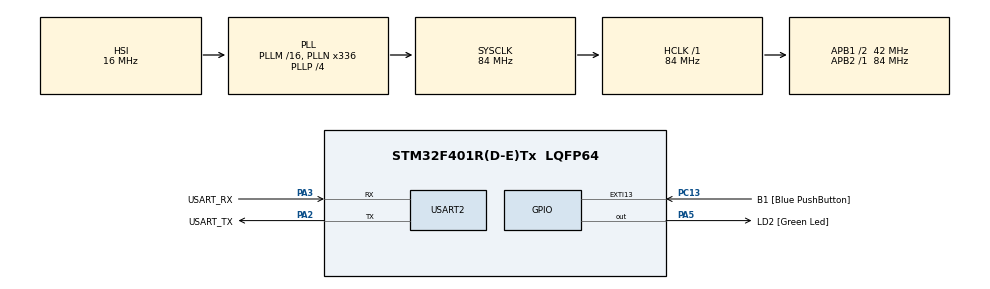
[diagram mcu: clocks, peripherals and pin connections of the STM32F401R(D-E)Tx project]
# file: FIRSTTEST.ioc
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Mcu.Family=STM32F4
Mcu.Name=STM32F401R(D-E)Tx
Mcu.Package=LQFP64
NVIC.PriorityGroup=NVIC_PRIORITYGROUP_4
PA13.GPIO_Label=TMS
PA13.Mode=Trace_Asynchronous_SW
PA13.Signal=SYS_JTMS-SWDIO
PA14.GPIO_Label=TCK
PA14.Mode=Trace_Asynchronous_SW
PA14.Signal=SYS_JTCK-SWCLK
PA2.GPIO_Label=USART_TX
PA2.GPIO_Mode=GPIO_MODE_AF_PP
PA2.GPIO_PuPd=GPIO_NOPULL
PA2.GPIO_Speed=GPIO_SPEED_FREQ_LOW
PA2.Mode=Asynchronous
PA2.Signal=USART2_TX
PA3.GPIO_Label=USART_RX
PA3.GPIO_Mode=GPIO_MODE_AF_PP
PA3.GPIO_PuPd=GPIO_NOPULL
PA3.GPIO_Speed=GPIO_SPEED_FREQ_LOW
PA3.Mode=Asynchronous
PA3.Signal=USART2_RX
PA5.GPIO_Label=LD2 [Green Led]
PA5.GPIO_Mode=GPIO_MODE_OUTPUT_PP
PA5.GPIO_PuPd=GPIO_NOPULL
PA5.GPIO_Speed=GPIO_SPEED_FREQ_LOW
PA5.Signal=GPIO_Output
PB3.GPIO_Label=SWO
PB3.Mode=Trace_Asynchronous_SW
PB3.Signal=SYS_JTDO-SWO
PC13-ANTI_TAMP.GPIO_Label=B1 [Blue PushButton]
PC13-ANTI_TAMP.GPIO_ModeDefaultEXTI=GPIO_MODE_IT_FALLING
PC13-ANTI_TAMP.GPIO_PuPd=GPIO_NOPULL
PC13-ANTI_TAMP.Signal=GPXTI13
PC14-OSC32_IN.Mode=LSE-External-Oscillator
PC14-OSC32_IN.Signal=RCC_OSC32_IN
PC15-OSC32_OUT.Mode=LSE-External-Oscillator
PC15-OSC32_OUT.Signal=RCC_OSC32_OUT
PH0\ -\ OSC_IN.Mode=HSE-External-Clock-Source
PH0\ -\ OSC_IN.Signal=RCC_OSC_IN
PH1\ -\ OSC_OUT.Mode=HSE-External-Clock-Source
PH1\ -\ OSC_OUT.Signal=RCC_OSC_OUT
ProjectManager.HeapSize=0x200
ProjectManager.StackSize=0x400
ProjectManager.TargetToolchain=STM32CubeIDE
RCC.48MHZClocksFreq_Value=48000000
RCC.AHBFreq_Value=84000000
RCC.APB1CLKDivider=RCC_HCLK_DIV2
RCC.APB1Freq_Value=42000000
RCC.APB1TimFreq_Value=84000000
RCC.APB2Freq_Value=84000000
RCC.APB2TimFreq_Value=84000000
RCC.CortexFreq_Value=84000000
RCC.HCLKFreq_Value=84000000
RCC.HSE_VALUE=8000000
RCC.HSI_VALUE=16000000
RCC.PLLN=336
RCC.PLLP=RCC_PLLP_DIV4
RCC.PLLQ=7
RCC.SYSCLKFreq_VALUE=84000000
RCC.SYSCLKSource=RCC_SYSCLKSOURCE_PLLCLK
RCC.VCOOutputFreq_Value=336000000
USART2.VirtualMode=VM_ASYNC
board=NUCLEO-F401RE

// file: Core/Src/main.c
/* USER CODE BEGIN Header */
/**
  ******************************************************************************
  * @file           : main.c
  * @brief          : Main program body
  ******************************************************************************
  * @attention
  *
  * Copyright (c) 2026 STMicroelectronics.
  * All rights reserved.
  *
  * This software is licensed under terms that can be found in the LICENSE file
  * in the root directory of this software component.
  * If no LICENSE file comes with this software, it is provided AS-IS.
  *
  ******************************************************************************
  */
/* USER CODE END Header */
#include "main.h"

#define SEGMENT_A		GPIO_PIN_4
#define SEGMENT_A_PORT	'B'

#define SEGMENT_B		GPIO_PIN_3
#define SEGMENT_B_PORT	'B'

#define SEGMENT_C		GPIO_PIN_8
#define SEGMENT_C_PORT	'A'

#define SEGMENT_D		GPIO_PIN_6
#define SEGMENT_D_PORT	'B'

#define SEGMENT_E		GPIO_PIN_7
#define SEGMENT_E_PORT	'A'

#define SEGMENT_F		GPIO_PIN_5
#define SEGMENT_F_PORT	'B'

#define SEGMENT_G		GPIO_PIN_10
#define SEGMENT_G_PORT	'B'

#define SEGMENT_DP		GPIO_PIN_9
#define SEGMENT_DP_PORT	'A'

UART_HandleTypeDef huart2;

typedef enum {
	BUTTON_RELEASED = 0,
	BUTTON_PRESSED_DEBOUNCE,
	BUTTON_HELD,
	WAITING_FOR_GAP
} ButtonState;

ButtonState btnState = BUTTON_RELEASED;
uint32_t pressStartTime = 0;
uint32_t holdDuration = 0;
uint32_t releaseStartTime = 0;
uint32_t gapDuration = 0;

uint8_t morseCode[4] = {0, 0, 0, 0};
uint8_t morseCodeIndex = 0;

void SystemClock_Config(void);
static void MX_GPIO_Init(void);
static void MX_USART2_UART_Init(void);
void segment_on(uint16_t segment, char port);
void segment_off(uint16_t segment, char port);

void display_off(void);
void display_A(void);
void display_B(void);
void display_C(void);
void display_D(void);
void display_E(void);
void display_F(void);
void display_G(void);
void display_H(void);
void display_I(void);
void display_J(void);
void display_K(void);
void display_L(void);
void display_M(void);
void display_N(void);
void display_O(void);
void display_P(void);
void display_Q(void);
void display_R(void);
void display_S(void);
void display_T(void);
void display_U(void);
void display_Q(void);
void display_V(void);
void display_W(void);
void display_X(void);
void display_Y(void);
void display_Z(void);

void reset_morse(void);
void check_button_hold(void);

void morse_code_transcribe(void);

int main(void)
{

  /* MCU Configuration--------------------------------------------------------*/

  /* Reset of all peripherals, Initializes the Flash interface and the Systick. */
  HAL_Init();

  /* Configure the system clock */
  SystemClock_Config();

  /* Initialize all configured peripherals */
  MX_GPIO_Init();
  MX_USART2_UART_Init();
  /* USER CODE BEGIN 2 */
  HAL_GPIO_WritePin(GPIOA, GPIO_PIN_0, GPIO_PIN_SET);		// PA0 (D1)
  display_off();

  /* USER CODE END 2 */

  /* Infinite loop */
  while (1)
  {

	  check_button_hold();

	  /*
	  // PA0 & PA1
//	  HAL_GPIO_WritePin(GPIOA, GPIO_PIN_1, GPIO_PIN_RESET);		// PA1 (D2)

	  // PA4 & PB0
//	  HAL_GPIO_WritePin(GPIOA, GPIO_PIN_4, GPIO_PIN_RESET);		// PA4 (D3)
//	  HAL_GPIO_WritePin(GPIOB, GPIO_PIN_0, GPIO_PIN_RESET);		// PB0 (D4)

	  // PA7 & PB6
//	  HAL_GPIO_WritePin(GPIOA, GPIO_PIN_7, GPIO_PIN_RESET);		// PA7 (E)
//	  HAL_GPIO_WritePin(GPIOB, GPIO_PIN_6, GPIO_PIN_RESET);		// PB6 (D)

	  // PA9 & PA8
//	  HAL_GPIO_WritePin(GPIOA, GPIO_PIN_9, GPIO_PIN_RESET);		// PA9 (DP)
//	  HAL_GPIO_WritePin(GPIOA, GPIO_PIN_8, GPIO_PIN_RESET);		// PA8 (C)

	  // PB10 & PB4
//	  HAL_GPIO_WritePin(GPIOB, GPIO_PIN_10, GPIO_PIN_RESET);	// PB10 (G)
//	  HAL_GPIO_WritePin(GPIOB, GPIO_PIN_4, GPIO_PIN_RESET);		// PB4 (A)

	  // PB5 && PB3
//	  HAL_GPIO_WritePin(GPIOB, GPIO_PIN_5, GPIO_PIN_RESET);		// PB5 (F)
//	  HAL_GPIO_WritePin(GPIOB, GPIO_PIN_3, GPIO_PIN_RESET);		// PB3 (B)
		*/

  }
  /* USER CODE END 3 */
}

void segment_on(uint16_t segment, char port) {
	if (port == 'B') {
		HAL_GPIO_WritePin(GPIOB, segment, GPIO_PIN_RESET);
	}
	else {
		HAL_GPIO_WritePin(GPIOA, segment, GPIO_PIN_RESET);
	}
	return;
}

void segment_off(uint16_t segment, char port) {
	if (port == 'B') {
		HAL_GPIO_WritePin(GPIOB, segment, GPIO_PIN_SET);
	}
	else {
		HAL_GPIO_WritePin(GPIOA, segment, GPIO_PIN_SET);
	}
	return;
}

void morse_code_transcribe(void) {
	if (morseCode[0] == 1 && morseCode[1] == 2 && morseCode[2] == 0 && morseCode[3] == 0) {
		display_A();
	}
	else if (morseCode[0] == 2 && morseCode[1] == 1 && morseCode[2] == 1 && morseCode[3] == 1) {
		display_B();
	}
	else if (morseCode[0] == 2 && morseCode[1] == 1 && morseCode[2] == 2 && morseCode[3] == 1) {
		display_C();
	}
	else if (morseCode[0] == 2 && morseCode[1] == 1 && morseCode[2] == 1 && morseCode[3] == 0) {
		display_D();
	}
	else if (morseCode[0] == 1 && morseCode[1] == 0 && morseCode[2] == 0 && morseCode[3] == 0) {
		display_E();
	}
	else if (morseCode[0] == 1 && morseCode[1] == 1 && morseCode[2] == 2 && morseCode[3] == 1) {
		display_F();
	}
	else if (morseCode[0] == 2 && morseCode[1] == 2 && morseCode[2] == 1 && morseCode[3] == 0) {
		display_G();
	}
	else if (morseCode[0] == 1 && morseCode[1] == 1 && morseCode[2] == 1 && morseCode[3] == 1) {
		display_H();
	}
	else if (morseCode[0] == 1 && morseCode[1] == 1 && morseCode[2] == 1 && morseCode[3] == 1) {
		display_I();
	}
	else if (morseCode[0] == 1 && morseCode[1] == 2 && morseCode[2] == 2 && morseCode[3] == 2) {
		display_J();
	}
	else if (morseCode[0] == 2 && morseCode[1] == 1 && morseCode[2] == 1 && morseCode[3] == 0) {
		display_K();
	}
	else if (morseCode[0] == 1 && morseCode[1] == 2 && morseCode[2] == 1 && morseCode[3] == 1) {
		display_L();
	}
	else if (morseCode[0] == 2 && morseCode[1] == 2 && morseCode[2] == 0 && morseCode[3] == 0) {
		display_M();
	}
	else if (morseCode[0] == 2 && morseCode[1] == 1 && morseCode[2] == 0 && morseCode[3] == 0) {
		display_N();
	}
	else if (morseCode[0] == 2 && morseCode[1] == 2 && morseCode[2] == 2 && morseCode[3] == 0) {
		display_O();
	}
	else if (morseCode[0] == 1 && morseCode[1] == 2 && morseCode[2] == 2 && morseCode[3] == 1) {
		display_P();
	}
	else if (morseCode[0] == 2 && morseCode[1] == 2 && morseCode[2] == 1 && morseCode[3] == 2) {
		display_Q();
	}
	else if (morseCode[0] == 1 && morseCode[1] == 2 && morseCode[2] == 1 && morseCode[3] == 0) {
		display_R();
	}
	else if (morseCode[0] == 1 && morseCode[1] == 1 && morseCode[2] == 1 && morseCode[3] == 0) {
		display_S();
	}
	else if (morseCode[0] == 2 && morseCode[1] == 0 && morseCode[2] == 0 && morseCode[3] == 0) {
		display_T();
	}
	else if (morseCode[0] == 1 && morseCode[1] == 1 && morseCode[2] == 2 && morseCode[3] == 0) {
		display_U();
	}
	else if (morseCode[0] == 1 && morseCode[1] == 1 && morseCode[2] == 1 && morseCode[3] == 2) {
		display_V();
	}
	else if (morseCode[0] == 1 && morseCode[1] == 2 && morseCode[2] == 2 && morseCode[3] == 0) {
		display_W();
	}
	else if (morseCode[0] == 2 && morseCode[1] == 1 && morseCode[2] == 1 && morseCode[3] == 2) {
		display_X();
	}
	else if (morseCode[0] == 2 && morseCode[1] == 1 && morseCode[2] == 2 && morseCode[3] == 2) {
		display_Y();
	}
	else if (morseCode[0] == 2 && morseCode[1] == 2 && morseCode[2] == 1 && morseCode[3] == 1) {
		display_Z();
	}
	else {
		display_off();
	}

	return;
}

void reset_morse(void) {
    morseCode[0] = 0;
    morseCode[1] = 0;
    morseCode[2] = 0;
    morseCode[3] = 0;
    morseCodeIndex = 0;
    gapDuration = 0;
    releaseStartTime = 0;
    holdDuration = 0;
}

void store_morse_symbol(uint8_t symbol) {
	if (morseCodeIndex < 4) {
		morseCode[morseCodeIndex] = symbol;
		morseCodeIndex += 1;
	}
	else {
		reset_morse();
	}
}

void check_button_hold(void) {
	if (HAL_GPIO_ReadPin(B1_GPIO_Port, B1_Pin) == GPIO_PIN_RESET) { // check if B1 button being press
		HAL_GPIO_WritePin(GPIOA, LD2_Pin, GPIO_PIN_SET); // turn LED on
		if (btnState == BUTTON_RELEASED || btnState == WAITING_FOR_GAP) {
		    pressStartTime = HAL_GetTick();
		    holdDuration = 0;
		    gapDuration = 0;
		    releaseStartTime = 0;
		    btnState = BUTTON_PRESSED_DEBOUNCE;
		}
		else if (btnState == BUTTON_PRESSED_DEBOUNCE) {
			// Check if press has lasted longer than 50ms (Debounce period)
			if ((HAL_GetTick() - pressStartTime) >= 50) {
				btnState = BUTTON_HELD;
			}
		}
		else if (btnState == BUTTON_HELD) {
			// Calculate how long button has been held down so far
			holdDuration = HAL_GetTick() - pressStartTime;
		}
	}
	else { // B1 button is not press
		HAL_GPIO_WritePin(GPIOA, LD2_Pin, GPIO_PIN_RESET); // turn LED off

		if (btnState == BUTTON_HELD) {
			// Button was held, now we know the exact duration
			if (holdDuration > 300) { // 20 WPM (Conversational)
				// Do "Long Press" Action "Dash" (e.g., >= 180 ms)
				store_morse_symbol(2);
			}
			else if (holdDuration <= 300) { // Dot
				// Do "Short Press" Action
				store_morse_symbol(1);
			}
//			if (morseCodeIndex > 3) { // too long for a character
//				morseCodeIndex = 0;
//				// Reset state
//				morseCode[0] = 0;
//				morseCode[1] = 0;
//				morseCode[2] = 0;
//				morseCode[3] = 0;
//				morseCodeIndex = 0;
//				gapDuration = 0;
//				releaseStartTime = 0;
//				btnState = BUTTON_RELEASED;
//				holdDuration = 0;
//			}
			releaseStartTime = HAL_GetTick();
			btnState = WAITING_FOR_GAP;

		}
		else if (btnState == WAITING_FOR_GAP) {
			// if not press for 420 ms
			gapDuration = HAL_GetTick() - releaseStartTime;

			if (gapDuration >= 1000) {
				// transcribe the recorded signal into a letter
				morse_code_transcribe();

				// Reset state
				morseCode[0] = 0;
				morseCode[1] = 0;
				morseCode[2] = 0;
				morseCode[3] = 0;
				morseCodeIndex = 0;
				gapDuration = 0;
				releaseStartTime = 0;
				btnState = BUTTON_RELEASED;
				holdDuration = 0;
			}
		}
	}
}

void display_off(void) {
	segment_off(SEGMENT_A, SEGMENT_A_PORT);
	segment_off(SEGMENT_B, SEGMENT_B_PORT);
	segment_off(SEGMENT_C, SEGMENT_C_PORT);
	segment_off(SEGMENT_D, SEGMENT_D_PORT);
	segment_off(SEGMENT_DP, SEGMENT_DP_PORT);
	segment_off(SEGMENT_E, SEGMENT_E_PORT);
	segment_off(SEGMENT_F, SEGMENT_F_PORT);
	segment_off(SEGMENT_G, SEGMENT_G_PORT);
}

void display_A(void) {
	segment_on(SEGMENT_A, SEGMENT_A_PORT);
	segment_on(SEGMENT_B, SEGMENT_B_PORT);
	segment_on(SEGMENT_C, SEGMENT_C_PORT);
	segment_off(SEGMENT_D, SEGMENT_D_PORT);
	segment_off(SEGMENT_DP, SEGMENT_DP_PORT);
	segment_on(SEGMENT_E, SEGMENT_E_PORT);
	segment_on(SEGMENT_F, SEGMENT_F_PORT);
	segment_on(SEGMENT_G, SEGMENT_G_PORT);
}

void display_B(void) {
	segment_off(SEGMENT_A, SEGMENT_A_PORT);
	segment_off(SEGMENT_B, SEGMENT_B_PORT);
	segment_on(SEGMENT_C, SEGMENT_C_PORT);
	segment_on(SEGMENT_D, SEGMENT_D_PORT);
	segment_off(SEGMENT_DP, SEGMENT_DP_PORT);
	segment_on(SEGMENT_E, SEGMENT_E_PORT);
	segment_on(SEGMENT_F, SEGMENT_F_PORT);
	segment_on(SEGMENT_G, SEGMENT_G_PORT);
}

void display_C(void) {
	segment_on(SEGMENT_A, SEGMENT_A_PORT);
	segment_off(SEGMENT_B, SEGMENT_B_PORT);
	segment_off(SEGMENT_C, SEGMENT_C_PORT);
	segment_on(SEGMENT_D, SEGMENT_D_PORT);
	segment_off(SEGMENT_DP, SEGMENT_DP_PORT);
	segment_on(SEGMENT_E, SEGMENT_E_PORT);
	segment_on(SEGMENT_F, SEGMENT_F_PORT);
	segment_off(SEGMENT_G, SEGMENT_G_PORT);
}

void display_D(void) {
	segment_off(SEGMENT_A, SEGMENT_A_PORT);
	segment_on(SEGMENT_B, SEGMENT_B_PORT);
	segment_on(SEGMENT_C, SEGMENT_C_PORT);
	segment_on(SEGMENT_D, SEGMENT_D_PORT);
	segment_off(SEGMENT_DP, SEGMENT_DP_PORT);
	segment_on(SEGMENT_E, SEGMENT_E_PORT);
	segment_off(SEGMENT_F, SEGMENT_F_PORT);
	segment_on(SEGMENT_G, SEGMENT_G_PORT);
}

void display_E(void) {
	segment_on(SEGMENT_A, SEGMENT_A_PORT);
	segment_off(SEGMENT_B, SEGMENT_B_PORT);
	segment_off(SEGMENT_C, SEGMENT_C_PORT);
	segment_on(SEGMENT_D, SEGMENT_D_PORT);
	segment_off(SEGMENT_DP, SEGMENT_DP_PORT);
	segment_on(SEGMENT_E, SEGMENT_E_PORT);
	segment_on(SEGMENT_F, SEGMENT_F_PORT);
	segment_on(SEGMENT_G, SEGMENT_G_PORT);
}

void display_F(void) {
	segment_on(SEGMENT_A, SEGMENT_A_PORT);
	segment_off(SEGMENT_B, SEGMENT_B_PORT);
	segment_off(SEGMENT_C, SEGMENT_C_PORT);
	segment_off(SEGMENT_D, SEGMENT_D_PORT);
	segment_off(SEGMENT_DP, SEGMENT_DP_PORT);
	segment_on(SEGMENT_E, SEGMENT_E_PORT);
	segment_on(SEGMENT_F, SEGMENT_F_PORT);
	segment_on(SEGMENT_G, SEGMENT_G_PORT);
}

void display_G(void) {
	segment_on(SEGMENT_A, SEGMENT_A_PORT);
	segment_on(SEGMENT_B, SEGMENT_B_PORT);
	segment_on(SEGMENT_C, SEGMENT_C_PORT);
	segment_on(SEGMENT_D, SEGMENT_D_PORT);
	segment_off(SEGMENT_DP, SEGMENT_DP_PORT);
	segment_off(SEGMENT_E, SEGMENT_E_PORT);
	segment_on(SEGMENT_F, SEGMENT_F_PORT);
	segment_on(SEGMENT_G, SEGMENT_G_PORT);
}

void display_H(void) {
	segment_off(SEGMENT_A, SEGMENT_A_PORT);
	segment_on(SEGMENT_B, SEGMENT_B_PORT);
	segment_on(SEGMENT_C, SEGMENT_C_PORT);
	segment_off(SEGMENT_D, SEGMENT_D_PORT);
	segment_off(SEGMENT_DP, SEGMENT_DP_PORT);
	segment_on(SEGMENT_E, SEGMENT_E_PORT);
	segment_on(SEGMENT_F, SEGMENT_F_PORT);
	segment_on(SEGMENT_G, SEGMENT_G_PORT);
}

void display_I(void) {
	segment_off(SEGMENT_A, SEGMENT_A_PORT);
	segment_on(SEGMENT_B, SEGMENT_B_PORT);
	segment_on(SEGMENT_C, SEGMENT_C_PORT);
	segment_off(SEGMENT_D, SEGMENT_D_PORT);
	segment_off(SEGMENT_DP, SEGMENT_DP_PORT);
	segment_off(SEGMENT_E, SEGMENT_E_PORT);
	segment_off(SEGMENT_F, SEGMENT_F_PORT);
	segment_off(SEGMENT_G, SEGMENT_G_PORT);
}

void display_J(void) {
	segment_off(SEGMENT_A, SEGMENT_A_PORT);
	segment_on(SEGMENT_B, SEGMENT_B_PORT);
	segment_on(SEGMENT_C, SEGMENT_C_PORT);
	segment_on(SEGMENT_D, SEGMENT_D_PORT);
	segment_off(SEGMENT_DP, SEGMENT_DP_PORT);
	segment_off(SEGMENT_E, SEGMENT_E_PORT);
	segment_off(SEGMENT_F, SEGMENT_F_PORT);
	segment_off(SEGMENT_G, SEGMENT_G_PORT);
}

void display_K(void) {
	segment_off(SEGMENT_A, SEGMENT_A_PORT);
	segment_off(SEGMENT_B, SEGMENT_B_PORT);
	segment_off(SEGMENT_C, SEGMENT_C_PORT);
	segment_off(SEGMENT_D, SEGMENT_D_PORT);
	segment_off(SEGMENT_DP, SEGMENT_DP_PORT);
	segment_on(SEGMENT_E, SEGMENT_E_PORT);
	segment_on(SEGMENT_F, SEGMENT_F_PORT);
	segment_on(SEGMENT_G, SEGMENT_G_PORT);
}

void display_L(void) {
	segment_off(SEGMENT_A, SEGMENT_A_PORT);
	segment_off(SEGMENT_B, SEGMENT_B_PORT);
	segment_off(SEGMENT_C, SEGMENT_C_PORT);
	segment_on(SEGMENT_D, SEGMENT_D_PORT);
	segment_off(SEGMENT_DP, SEGMENT_DP_PORT);
	segment_on(SEGMENT_E, SEGMENT_E_PORT);
	segment_on(SEGMENT_F, SEGMENT_F_PORT);
	segment_off(SEGMENT_G, SEGMENT_G_PORT);
}

void display_M(void) {
	segment_on(SEGMENT_A, SEGMENT_A_PORT);
	segment_off(SEGMENT_B, SEGMENT_B_PORT);
	segment_on(SEGMENT_C, SEGMENT_C_PORT);
	segment_off(SEGMENT_D, SEGMENT_D_PORT);
	segment_off(SEGMENT_DP, SEGMENT_DP_PORT);
	segment_on(SEGMENT_E, SEGMENT_E_PORT);
	segment_off(SEGMENT_F, SEGMENT_F_PORT);
	segment_on(SEGMENT_G, SEGMENT_G_PORT);
}

void display_N(void) {
	segment_on(SEGMENT_A, SEGMENT_A_PORT);
	segment_on(SEGMENT_B, SEGMENT_B_PORT);
	segment_on(SEGMENT_C, SEGMENT_C_PORT);
	segment_off(SEGMENT_D, SEGMENT_D_PORT);
	segment_off(SEGMENT_DP, SEGMENT_DP_PORT);
	segment_on(SEGMENT_E, SEGMENT_E_PORT);
	segment_on(SEGMENT_F, SEGMENT_F_PORT);
	segment_off(SEGMENT_G, SEGMENT_G_PORT);
}

void display_O(void) {
	segment_on(SEGMENT_A, SEGMENT_A_PORT);
	segment_on(SEGMENT_B, SEGMENT_B_PORT);
	segment_on(SEGMENT_C, SEGMENT_C_PORT);
	segment_on(SEGMENT_D, SEGMENT_D_PORT);
	segment_off(SEGMENT_DP, SEGMENT_DP_PORT);
	segment_on(SEGMENT_E, SEGMENT_E_PORT);
	segment_on(SEGMENT_F, SEGMENT_F_PORT);
	segment_off(SEGMENT_G, SEGMENT_G_PORT);
}

void display_P(void) {
	segment_on(SEGMENT_A, SEGMENT_A_PORT);
	segment_on(SEGMENT_B, SEGMENT_B_PORT);
	segment_off(SEGMENT_C, SEGMENT_C_PORT);
	segment_off(SEGMENT_D, SEGMENT_D_PORT);
	segment_off(SEGMENT_DP, SEGMENT_DP_PORT);
	segment_on(SEGMENT_E, SEGMENT_E_PORT);
	segment_on(SEGMENT_F, SEGMENT_F_PORT);
	segment_on(SEGMENT_G, SEGMENT_G_PORT);
}

void display_Q(void) {
	segment_on(SEGMENT_A, SEGMENT_A_PORT);
	segment_on(SEGMENT_B, SEGMENT_B_PORT);
	segment_on(SEGMENT_C, SEGMENT_C_PORT);
	segment_off(SEGMENT_D, SEGMENT_D_PORT);
	segment_off(SEGMENT_DP, SEGMENT_DP_PORT);
	segment_off(SEGMENT_E, SEGMENT_E_PORT);
	segment_on(SEGMENT_F, SEGMENT_F_PORT);
	segment_on(SEGMENT_G, SEGMENT_G_PORT);
}

void display_R(void) {
	segment_on(SEGMENT_A, SEGMENT_A_PORT);
	segment_off(SEGMENT_B, SEGMENT_B_PORT);
	segment_off(SEGMENT_C, SEGMENT_C_PORT);
	segment_off(SEGMENT_D, SEGMENT_D_PORT);
	segment_off(SEGMENT_DP, SEGMENT_DP_PORT);
	segment_on(SEGMENT_E, SEGMENT_E_PORT);
	segment_on(SEGMENT_F, SEGMENT_F_PORT);
	segment_off(SEGMENT_G, SEGMENT_G_PORT);
}

void display_S(void) {
	segment_on(SEGMENT_A, SEGMENT_A_PORT);
	segment_off(SEGMENT_B, SEGMENT_B_PORT);
	segment_on(SEGMENT_C, SEGMENT_C_PORT);
	segment_on(SEGMENT_D, SEGMENT_D_PORT);
	segment_off(SEGMENT_DP, SEGMENT_DP_PORT);
	segment_off(SEGMENT_E, SEGMENT_E_PORT);
	segment_on(SEGMENT_F, SEGMENT_F_PORT);
	segment_on(SEGMENT_G, SEGMENT_G_PORT);
}

void display_T(void) {
	segment_off(SEGMENT_A, SEGMENT_A_PORT);
	segment_off(SEGMENT_B, SEGMENT_B_PORT);
	segment_off(SEGMENT_C, SEGMENT_C_PORT);
	segment_on(SEGMENT_D, SEGMENT_D_PORT);
	segment_off(SEGMENT_DP, SEGMENT_DP_PORT);
	segment_on(SEGMENT_E, SEGMENT_E_PORT);
	segment_on(SEGMENT_F, SEGMENT_F_PORT);
	segment_on(SEGMENT_G, SEGMENT_G_PORT);
}

void display_U(void) {
	segment_off(SEGMENT_A, SEGMENT_A_PORT);
	segment_on(SEGMENT_B, SEGMENT_B_PORT);
	segment_on(SEGMENT_C, SEGMENT_C_PORT);
	segment_on(SEGMENT_D, SEGMENT_D_PORT);
	segment_off(SEGMENT_DP, SEGMENT_DP_PORT);
	segment_on(SEGMENT_E, SEGMENT_E_PORT);
	segment_on(SEGMENT_F, SEGMENT_F_PORT);
	segment_off(SEGMENT_G, SEGMENT_G_PORT);
}

void display_V(void) {
	segment_off(SEGMENT_A, SEGMENT_A_PORT);
	segment_on(SEGMENT_B, SEGMENT_B_PORT);
	segment_off(SEGMENT_C, SEGMENT_C_PORT);
	segment_on(SEGMENT_D, SEGMENT_D_PORT);
	segment_off(SEGMENT_DP, SEGMENT_DP_PORT);
	segment_off(SEGMENT_E, SEGMENT_E_PORT);
	segment_on(SEGMENT_F, SEGMENT_F_PORT);
	segment_off(SEGMENT_G, SEGMENT_G_PORT);
}

void display_W(void) {
	segment_off(SEGMENT_A, SEGMENT_A_PORT);
	segment_on(SEGMENT_B, SEGMENT_B_PORT);
	segment_off(SEGMENT_C, SEGMENT_C_PORT);
	segment_on(SEGMENT_D, SEGMENT_D_PORT);
	segment_off(SEGMENT_DP, SEGMENT_DP_PORT);
	segment_off(SEGMENT_E, SEGMENT_E_PORT);
	segment_on(SEGMENT_F, SEGMENT_F_PORT);
	segment_on(SEGMENT_G, SEGMENT_G_PORT);
}

void display_X(void) {
	segment_off(SEGMENT_A, SEGMENT_A_PORT);
	segment_off(SEGMENT_B, SEGMENT_B_PORT);
	segment_on(SEGMENT_C, SEGMENT_C_PORT);
	segment_off(SEGMENT_D, SEGMENT_D_PORT);
	segment_off(SEGMENT_DP, SEGMENT_DP_PORT);
	segment_on(SEGMENT_E, SEGMENT_E_PORT);
	segment_off(SEGMENT_F, SEGMENT_F_PORT);
	segment_off(SEGMENT_G, SEGMENT_G_PORT);
}

void display_Y(void) {
	segment_off(SEGMENT_A, SEGMENT_A_PORT);
	segment_on(SEGMENT_B, SEGMENT_B_PORT);
	segment_on(SEGMENT_C, SEGMENT_C_PORT);
	segment_on(SEGMENT_D, SEGMENT_D_PORT);
	segment_off(SEGMENT_DP, SEGMENT_DP_PORT);
	segment_off(SEGMENT_E, SEGMENT_E_PORT);
	segment_on(SEGMENT_F, SEGMENT_F_PORT);
	segment_on(SEGMENT_G, SEGMENT_G_PORT);
}

void display_Z(void) {
	segment_on(SEGMENT_A, SEGMENT_A_PORT);
	segment_on(SEGMENT_B, SEGMENT_B_PORT);
	segment_off(SEGMENT_C, SEGMENT_C_PORT);
	segment_on(SEGMENT_D, SEGMENT_D_PORT);
	segment_off(SEGMENT_DP, SEGMENT_DP_PORT);
	segment_on(SEGMENT_E, SEGMENT_E_PORT);
	segment_off(SEGMENT_F, SEGMENT_F_PORT);
	segment_off(SEGMENT_G, SEGMENT_G_PORT);
}

void SystemClock_Config(void)
{
  RCC_OscInitTypeDef RCC_OscInitStruct = {0};
  RCC_ClkInitTypeDef RCC_ClkInitStruct = {0};

  /** Configure the main internal regulator output voltage
  */
  __HAL_RCC_PWR_CLK_ENABLE();
  __HAL_PWR_VOLTAGESCALING_CONFIG(PWR_REGULATOR_VOLTAGE_SCALE2);

  /** Initializes the RCC Oscillators according to the specified parameters
  * in the RCC_OscInitTypeDef structure.
  */
  RCC_OscInitStruct.OscillatorType = RCC_OSCILLATORTYPE_HSI;
  RCC_OscInitStruct.HSIState = RCC_HSI_ON;
  RCC_OscInitStruct.HSICalibrationValue = RCC_HSICALIBRATION_DEFAULT;
  RCC_OscInitStruct.PLL.PLLState = RCC_PLL_ON;
  RCC_OscInitStruct.PLL.PLLSource = RCC_PLLSOURCE_HSI;
  RCC_OscInitStruct.PLL.PLLM = 16;
  RCC_OscInitStruct.PLL.PLLN = 336;
  RCC_OscInitStruct.PLL.PLLP = RCC_PLLP_DIV4;
  RCC_OscInitStruct.PLL.PLLQ = 7;
  if (HAL_RCC_OscConfig(&RCC_OscInitStruct) != HAL_OK)
  {
    Error_Handler();
  }

  /** Initializes the CPU, AHB and APB buses clocks
  */
  RCC_ClkInitStruct.ClockType = RCC_CLOCKTYPE_HCLK|RCC_CLOCKTYPE_SYSCLK
                              |RCC_CLOCKTYPE_PCLK1|RCC_CLOCKTYPE_PCLK2;
  RCC_ClkInitStruct.SYSCLKSource = RCC_SYSCLKSOURCE_PLLCLK;
  RCC_ClkInitStruct.AHBCLKDivider = RCC_SYSCLK_DIV1;
  RCC_ClkInitStruct.APB1CLKDivider = RCC_HCLK_DIV2;
  RCC_ClkInitStruct.APB2CLKDivider = RCC_HCLK_DIV1;

  if (HAL_RCC_ClockConfig(&RCC_ClkInitStruct, FLASH_LATENCY_2) != HAL_OK)
  {
    Error_Handler();
  }
}

static void MX_USART2_UART_Init(void)
{

  huart2.Instance = USART2;
  huart2.Init.BaudRate = 115200;
  huart2.Init.WordLength = UART_WORDLENGTH_8B;
  huart2.Init.StopBits = UART_STOPBITS_1;
  huart2.Init.Parity = UART_PARITY_NONE;
  huart2.Init.Mode = UART_MODE_TX_RX;
  huart2.Init.HwFlowCtl = UART_HWCONTROL_NONE;
  huart2.Init.OverSampling = UART_OVERSAMPLING_16;
  if (HAL_UART_Init(&huart2) != HAL_OK)
  {
    Error_Handler();
  }

}

static void MX_GPIO_Init(void)
{
  GPIO_InitTypeDef GPIO_InitStruct = {0};

  /* GPIO Ports Clock Enable */
  __HAL_RCC_GPIOC_CLK_ENABLE();
  __HAL_RCC_GPIOH_CLK_ENABLE();
  __HAL_RCC_GPIOA_CLK_ENABLE();
  __HAL_RCC_GPIOB_CLK_ENABLE();

  /*Configure GPIO pin Output Level */
  HAL_GPIO_WritePin(LD2_GPIO_Port, LD2_Pin, GPIO_PIN_RESET);

  /*Configure GPIO pin : B1_Pin */
  GPIO_InitStruct.Pin = B1_Pin;
  GPIO_InitStruct.Mode = GPIO_MODE_IT_FALLING;
  GPIO_InitStruct.Pull = GPIO_NOPULL;
  HAL_GPIO_Init(B1_GPIO_Port, &GPIO_InitStruct);

  /*Configure GPIO pin : LD2_Pin */
  GPIO_InitStruct.Pin = LD2_Pin;
  GPIO_InitStruct.Mode = GPIO_MODE_OUTPUT_PP;
  GPIO_InitStruct.Pull = GPIO_NOPULL;
  GPIO_InitStruct.Speed = GPIO_SPEED_FREQ_LOW;
  HAL_GPIO_Init(LD2_GPIO_Port, &GPIO_InitStruct);

  /* USER CODE BEGIN MX_GPIO_Init_2 */

  	/*Configure GPIO pin : PA0 */
	GPIO_InitStruct.Pin = GPIO_PIN_0;
	GPIO_InitStruct.Mode = GPIO_MODE_OUTPUT_PP;
	GPIO_InitStruct.Pull = GPIO_NOPULL;
	GPIO_InitStruct.Speed = GPIO_SPEED_FREQ_LOW;
	HAL_GPIO_Init(GPIOA, &GPIO_InitStruct);

	// PA1
	GPIO_InitStruct.Pin = GPIO_PIN_1;
	GPIO_InitStruct.Mode = GPIO_MODE_OUTPUT_PP;
	GPIO_InitStruct.Pull = GPIO_NOPULL;
	GPIO_InitStruct.Speed = GPIO_SPEED_FREQ_LOW;
	HAL_GPIO_Init(GPIOA, &GPIO_InitStruct);

	// PA4
	GPIO_InitStruct.Pin = GPIO_PIN_4;
	GPIO_InitStruct.Mode = GPIO_MODE_OUTPUT_PP;
	GPIO_InitStruct.Pull = GPIO_NOPULL;
	GPIO_InitStruct.Speed = GPIO_SPEED_FREQ_LOW;
	HAL_GPIO_Init(GPIOA, &GPIO_InitStruct);

	// PB0
	GPIO_InitStruct.Pin = GPIO_PIN_0;
	GPIO_InitStruct.Mode = GPIO_MODE_OUTPUT_PP;
	GPIO_InitStruct.Pull = GPIO_NOPULL;
	GPIO_InitStruct.Speed = GPIO_SPEED_FREQ_LOW;
	HAL_GPIO_Init(GPIOB, &GPIO_InitStruct);

	// PA7
	GPIO_InitStruct.Pin = GPIO_PIN_7;
	GPIO_InitStruct.Mode = GPIO_MODE_OUTPUT_PP;
	GPIO_InitStruct.Pull = GPIO_NOPULL;
	GPIO_InitStruct.Speed = GPIO_SPEED_FREQ_LOW;
	HAL_GPIO_Init(GPIOA, &GPIO_InitStruct);

	// PB6
	GPIO_InitStruct.Pin = GPIO_PIN_6;
	GPIO_InitStruct.Mode = GPIO_MODE_OUTPUT_PP;
	GPIO_InitStruct.Pull = GPIO_NOPULL;
	GPIO_InitStruct.Speed = GPIO_SPEED_FREQ_LOW;
	HAL_GPIO_Init(GPIOB, &GPIO_InitStruct);

	// PA9
	GPIO_InitStruct.Pin = GPIO_PIN_9;
	GPIO_InitStruct.Mode = GPIO_MODE_OUTPUT_PP;
	GPIO_InitStruct.Pull = GPIO_NOPULL;
	GPIO_InitStruct.Speed = GPIO_SPEED_FREQ_LOW;
	HAL_GPIO_Init(GPIOA, &GPIO_InitStruct);

	// PA8
	GPIO_InitStruct.Pin = GPIO_PIN_8;
	GPIO_InitStruct.Mode = GPIO_MODE_OUTPUT_PP;
	GPIO_InitStruct.Pull = GPIO_NOPULL;
	GPIO_InitStruct.Speed = GPIO_SPEED_FREQ_LOW;
	HAL_GPIO_Init(GPIOA, &GPIO_InitStruct);

	// PB10
	GPIO_InitStruct.Pin = GPIO_PIN_10;
	GPIO_InitStruct.Mode = GPIO_MODE_OUTPUT_PP;
	GPIO_InitStruct.Pull = GPIO_NOPULL;
	GPIO_InitStruct.Speed = GPIO_SPEED_FREQ_LOW;
	HAL_GPIO_Init(GPIOB, &GPIO_InitStruct);

	// PB4
	GPIO_InitStruct.Pin = GPIO_PIN_4;
	GPIO_InitStruct.Mode = GPIO_MODE_OUTPUT_PP;
	GPIO_InitStruct.Pull = GPIO_NOPULL;
	GPIO_InitStruct.Speed = GPIO_SPEED_FREQ_LOW;
	HAL_GPIO_Init(GPIOB, &GPIO_InitStruct);

	// PB5
	GPIO_InitStruct.Pin = GPIO_PIN_5;
	GPIO_InitStruct.Mode = GPIO_MODE_OUTPUT_PP;
	GPIO_InitStruct.Pull = GPIO_NOPULL;
	GPIO_InitStruct.Speed = GPIO_SPEED_FREQ_LOW;
	HAL_GPIO_Init(GPIOB, &GPIO_InitStruct);

	// PB3
	GPIO_InitStruct.Pin = GPIO_PIN_3;
	GPIO_InitStruct.Mode = GPIO_MODE_OUTPUT_PP;
	GPIO_InitStruct.Pull = GPIO_NOPULL;
	GPIO_InitStruct.Speed = GPIO_SPEED_FREQ_LOW;
	HAL_GPIO_Init(GPIOB, &GPIO_InitStruct);

  /* USER CODE END MX_GPIO_Init_2 */
}

void Error_Handler(void)
{
  __disable_irq();
  while (1)
  {
  }
}
